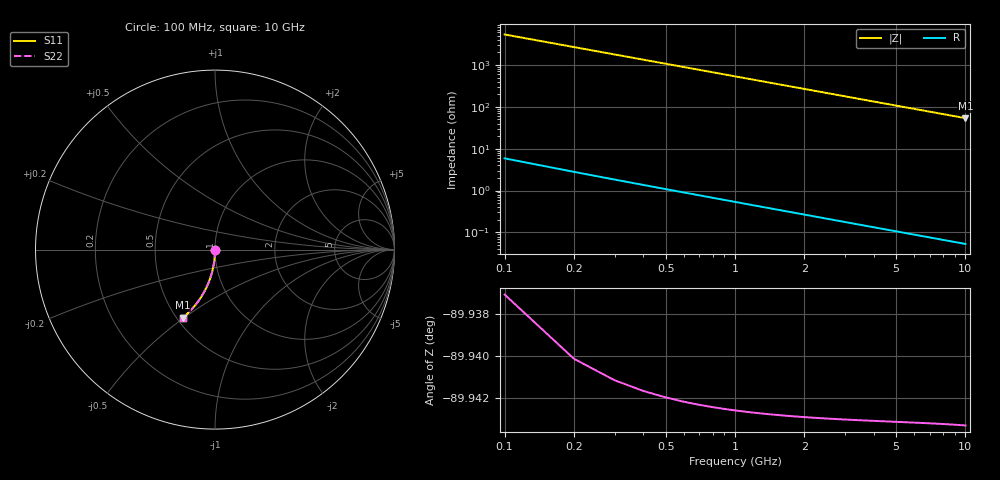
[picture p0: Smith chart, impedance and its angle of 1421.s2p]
# Hz S RI R 50.00
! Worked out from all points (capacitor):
!   100 points, 100 MHz to 10 GHz, reference 50 ohm
!   read as one part in shunt: C = 297 fF near 100 MHz
!   lowest |Z| = 53.7 ohm at 10 GHz (marker M1)
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1e8  -1.51e-05 -0.00463  1 -0.00471  1 -0.00471  -1.51e-05 -0.00463
2e8  -8.5e-05 -0.00926  0.9999 -0.00941  0.9999 -0.00941  -8.5e-05 -0.00926
3e8  -0.000198 -0.0139  0.9998 -0.0141  0.9998 -0.0141  -0.000198 -0.0139
4e8  -0.000355 -0.0185  0.9996 -0.0188  0.9996 -0.0188  -0.000355 -0.0185
5e8  -0.000556 -0.0231  0.9994 -0.0235  0.9994 -0.0235  -0.000556 -0.0231
6e8  -0.0008 -0.0277  0.9992 -0.0282  0.9992 -0.0282  -0.0008 -0.0277
7e8  -0.00109 -0.0324  0.9989 -0.0329  0.9989 -0.0329  -0.00109 -0.0324
8e8  -0.00142 -0.037  0.9986 -0.0376  0.9986 -0.0376  -0.00142 -0.037
9e8  -0.00179 -0.0416  0.9982 -0.0423  0.9982 -0.0423  -0.00179 -0.0416
1.1e9  -0.00267 -0.0508  0.9973 -0.0516  0.9973 -0.0516  -0.00267 -0.0508
1.4e9  -0.0043 -0.0645  0.9957 -0.0656  0.9957 -0.0656  -0.0043 -0.0645
1.8e9  -0.00708 -0.0827  0.9929 -0.0841  0.9929 -0.0841  -0.00708 -0.0827
2.1e9  -0.00959 -0.0962  0.9904 -0.0979  0.9904 -0.0979  -0.00959 -0.0962
2.5e9  -0.0135 -0.1141  0.9864 -0.116  0.9864 -0.116  -0.0135 -0.1141
2.9e9  -0.0181 -0.1317  0.9819 -0.134  0.9819 -0.134  -0.0181 -0.1317
3.4e9  -0.0247 -0.1534  0.9753 -0.156  0.9753 -0.156  -0.0247 -0.1534
4.2e9  -0.0371 -0.187  0.9628 -0.1903  0.9628 -0.1903  -0.0371 -0.187
5.1e9  -0.0537 -0.223  0.9462 -0.227  0.9462 -0.227  -0.0537 -0.223
5.9e9  -0.0706 -0.2533  0.9294 -0.258  0.9294 -0.258  -0.0706 -0.2533
6.7e9  -0.0891 -0.2818  0.9108 -0.2871  0.9108 -0.2871  -0.0891 -0.2818
8.4e9  -0.1332 -0.336  0.8668 -0.3426  0.8668 -0.3426  -0.1332 -0.336
1e10  -0.1786 -0.3786  0.8213 -0.3866  0.8213 -0.3866  -0.1786 -0.3786
